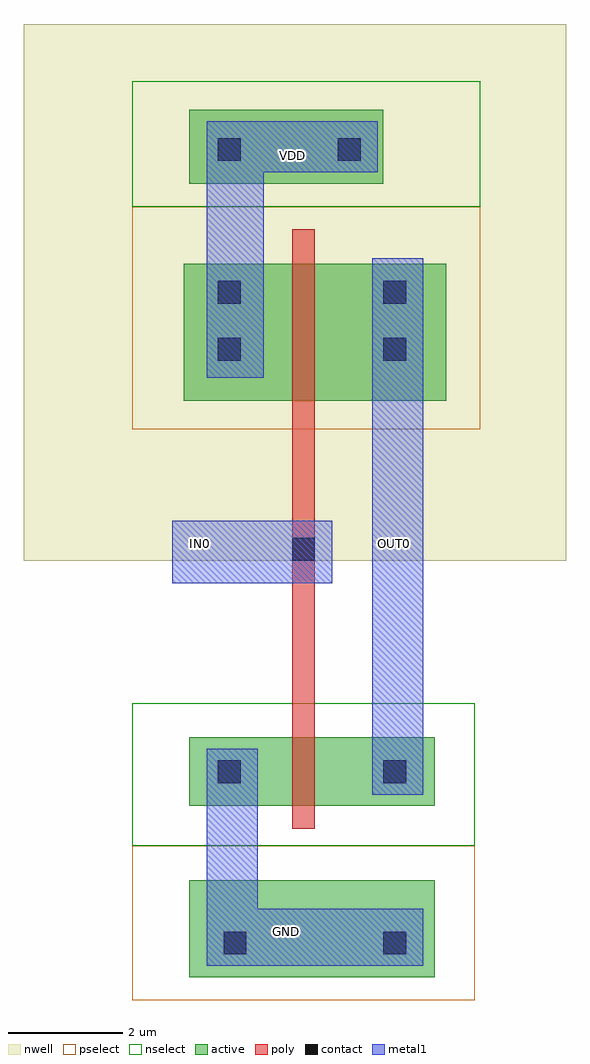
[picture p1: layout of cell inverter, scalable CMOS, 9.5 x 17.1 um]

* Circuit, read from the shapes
.subckt inverter GND IN0 OUT0 VDD
M1 OUT0 IN0 GND GND nfet w=1.2u l=0.4u
M2 OUT0 IN0 VDD VDD pfet w=2.4u l=0.4u
.ends

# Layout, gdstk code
import gdstk
lib = gdstk.Library(unit=1e-6, precision=1e-09)
def R(c, l, rs):  # rectangles x0, y0, x1, y1
    for r in rs: c.add(gdstk.rectangle(r[:2], r[2:], *l))
contact = (25, 0)
nwell = (42, 0)
active = (43, 0)
pselect = (44, 0)
nselect = (45, 0)
poly = (46, 0)
metal1 = (49, 0)

inverter = lib.new_cell('inverter')
R(inverter, contact, [(-19.4,11.7,-19,12.1), (-16.6,11.7,-16.2,12.1), (-19.5,14.7,-19.1,15.1), (-16.6,14.7,-16.2,15.1), (-18.2,18.6,-17.8,19), (-19.5,22.1,-19.1,22.5), (-16.6,22.1,-16.2,22.5), (-19.5,23.1,-19.1,23.5), (-16.6,23.1,-16.2,23.5), (-19.5,25.6,-19.1,26), (-17.4,25.6,-17,26)])
R(inverter, nwell, [(-22.9,18.6,-13.4,28)])
R(inverter, active, [(-20,11.3,-15.7,13), (-20,14.3,-15.7,15.5), (-20.1,21.4,-15.5,23.8), (-20,25.2,-16.6,26.5)])
R(inverter, pselect, [(-21,10.9,-15,13.6), (-21,20.9,-14.9,24.8)])
R(inverter, nselect, [(-21,13.6,-15,16.1), (-21,24.8,-14.9,27)])
R(inverter, poly, [(-18.2,13.9,-17.8,24.4)])
R(inverter, metal1, [(-19.7,11.5,-15.9,12.5), (-19.7,11.5,-18.8,15.3), (-16.8,14.5,-15.9,23.9), (-20.3,18.2,-17.5,19.3), (-19.7,21.8,-18.7,26.3), (-19.7,25.4,-16.7,26.3)])
inverter.add(gdstk.Label('GND', (-18.3,12.1), layer=75, texttype=0))
inverter.add(gdstk.Label('VDD', (-18.2,25.7), layer=75, texttype=0))
inverter.add(gdstk.Label('OUT0', (-16.4,18.9), layer=75, texttype=0))
inverter.add(gdstk.Label('IN0', (-19.8,18.9), layer=75, texttype=0))

lib.write_gds('inverter.gds')
